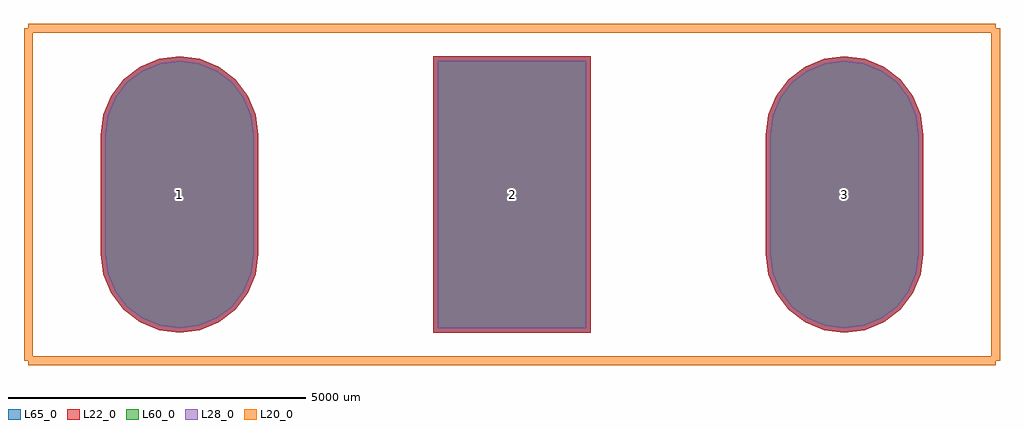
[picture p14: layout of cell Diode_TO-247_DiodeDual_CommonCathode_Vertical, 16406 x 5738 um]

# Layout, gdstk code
import gdstk
lib = gdstk.Library(unit=1e-6, precision=1e-09)
def R(c, l, rs):  # rectangles x0, y0, x1, y1
    for r in rs: c.add(gdstk.rectangle(r[:2], r[2:], *l))
def P(c, l, *ps):  # polygons
    for p in ps: c.add(gdstk.Polygon(p, *l))
L20_0 = (20, 0)
L22_0 = (22, 0)
L28_0 = (28, 0)
L60_0 = (60, 0)
L65_0 = (65, 0)

diode_to_247_diodedual_c = lib.new_cell('Diode_TO-247_DiodeDual_CommonCathode_Vertical')
R(diode_to_247_diodedual_c, L22_0, [(4260.78,-2325.44,6910.14,2325.44)])
P(diode_to_247_diodedual_c, L22_0, [(11173.46,-2325.44),(11516.312,-2280.303),(11835.8,-2147.967),(12110.15,-1937.45),(12320.667,-1663.1),(12453.003,-1343.612),(12498.14,-1000.76),(12498.14,1000.76),(12453.003,1343.612),(12320.667,1663.1),(12110.15,1937.45),(11835.8,2147.967),(11516.312,2280.303),(11173.46,2325.44),(10830.608,2280.303),(10511.12,2147.967),(10236.77,1937.45),(10026.253,1663.1),(9893.917,1343.612),(9848.78,1000.76),(9848.78,-1000.76),(9893.917,-1343.612),(10026.253,-1663.1),(10236.77,-1937.45),(10511.12,-2147.967),(10830.608,-2280.303)],
  [(-2.54,-2325.44),(340.312,-2280.303),(659.8,-2147.967),(934.15,-1937.45),(1144.667,-1663.1),(1277.003,-1343.612),(1322.14,-1000.76),(1322.14,1000.76),(1277.003,1343.612),(1144.667,1663.1),(934.15,1937.45),(659.8,2147.967),(340.312,2280.303),(-2.54,2325.44),(-345.392,2280.303),(-664.88,2147.967),(-939.23,1937.45),(-1149.747,1663.1),(-1282.083,1343.612),(-1327.22,1000.76),(-1327.22,-1000.76),(-1282.083,-1343.612),(-1149.747,-1663.1),(-939.23,-1937.45),(-664.88,-2147.967),(-345.392,-2280.303)])
R(diode_to_247_diodedual_c, L28_0, [(4335.78,-2250.44,6835.14,2250.44)])
P(diode_to_247_diodedual_c, L28_0, [(11173.46,-2250.44),(11496.901,-2207.858),(11798.3,-2083.015),(12057.117,-1884.417),(12255.715,-1625.6),(12380.558,-1324.201),(12423.14,-1000.76),(12423.14,1000.76),(12380.558,1324.201),(12255.715,1625.6),(12057.117,1884.417),(11798.3,2083.015),(11496.901,2207.858),(11173.46,2250.44),(10850.019,2207.858),(10548.62,2083.015),(10289.803,1884.417),(10091.205,1625.6),(9966.362,1324.201),(9923.78,1000.76),(9923.78,-1000.76),(9966.362,-1324.201),(10091.205,-1625.6),(10289.803,-1884.417),(10548.62,-2083.015),(10850.019,-2207.858)],
  [(-2.54,-2250.44),(320.901,-2207.858),(622.3,-2083.015),(881.117,-1884.417),(1079.715,-1625.6),(1204.558,-1324.201),(1247.14,-1000.76),(1247.14,1000.76),(1204.558,1324.201),(1079.715,1625.6),(881.117,1884.417),(622.3,2083.015),(320.901,2207.858),(-2.54,2250.44),(-325.981,2207.858),(-627.38,2083.015),(-886.197,1884.417),(-1084.795,1625.6),(-1209.638,1324.201),(-1252.22,1000.76),(-1252.22,-1000.76),(-1209.638,-1324.201),(-1084.795,-1625.6),(-886.197,-1884.417),(-627.38,-2083.015),(-325.981,-2207.858)])
R(diode_to_247_diodedual_c, L60_0, [(4335.78,-2250.44,6835.14,2250.44)])
P(diode_to_247_diodedual_c, L60_0, [(11173.46,-2250.44),(11496.901,-2207.858),(11798.3,-2083.015),(12057.117,-1884.417),(12255.715,-1625.6),(12380.558,-1324.201),(12423.14,-1000.76),(12423.14,1000.76),(12380.558,1324.201),(12255.715,1625.6),(12057.117,1884.417),(11798.3,2083.015),(11496.901,2207.858),(11173.46,2250.44),(10850.019,2207.858),(10548.62,2083.015),(10289.803,1884.417),(10091.205,1625.6),(9966.362,1324.201),(9923.78,1000.76),(9923.78,-1000.76),(9966.362,-1324.201),(10091.205,-1625.6),(10289.803,-1884.417),(10548.62,-2083.015),(10850.019,-2207.858)],
  [(-2.54,-2250.44),(320.901,-2207.858),(622.3,-2083.015),(881.117,-1884.417),(1079.715,-1625.6),(1204.558,-1324.201),(1247.14,-1000.76),(1247.14,1000.76),(1204.558,1324.201),(1079.715,1625.6),(881.117,1884.417),(622.3,2083.015),(320.901,2207.858),(-2.54,2250.44),(-325.981,2207.858),(-627.38,2083.015),(-886.197,1884.417),(-1084.795,1625.6),(-1209.638,1324.201),(-1252.22,1000.76),(-1252.22,-1000.76),(-1209.638,-1324.201),(-1084.795,-1625.6),(-886.197,-1884.417),(-627.38,-2083.015),(-325.981,-2207.858)])
R(diode_to_247_diodedual_c, L65_0, [(4260.78,-2325.44,6910.14,2325.44)])
P(diode_to_247_diodedual_c, L65_0, [(11173.46,-2325.44),(11516.312,-2280.303),(11835.8,-2147.967),(12110.15,-1937.45),(12320.667,-1663.1),(12453.003,-1343.612),(12498.14,-1000.76),(12498.14,1000.76),(12453.003,1343.612),(12320.667,1663.1),(12110.15,1937.45),(11835.8,2147.967),(11516.312,2280.303),(11173.46,2325.44),(10830.608,2280.303),(10511.12,2147.967),(10236.77,1937.45),(10026.253,1663.1),(9893.917,1343.612),(9848.78,1000.76),(9848.78,-1000.76),(9893.917,-1343.612),(10026.253,-1663.1),(10236.77,-1937.45),(10511.12,-2147.967),(10830.608,-2280.303)],
  [(-2.54,-2325.44),(340.312,-2280.303),(659.8,-2147.967),(934.15,-1937.45),(1144.667,-1663.1),(1277.003,-1343.612),(1322.14,-1000.76),(1322.14,1000.76),(1277.003,1343.612),(1144.667,1663.1),(934.15,1937.45),(659.8,2147.967),(340.312,2280.303),(-2.54,2325.44),(-345.392,2280.303),(-664.88,2147.967),(-939.23,1937.45),(-1149.747,1663.1),(-1282.083,1343.612),(-1327.22,1000.76),(-1327.22,-1000.76),(-1282.083,-1343.612),(-1149.747,-1663.1),(-939.23,-1937.45),(-664.88,-2147.967),(-345.392,-2280.303)])
diode_to_247_diodedual_c.add(gdstk.FlexPath([(-2542.54,-2794),(13713.46,-2794)], 149.998, ends="flush", simple_path=True, layer=20, datatype=0))  # L20_0
diode_to_247_diodedual_c.add(gdstk.FlexPath([(-2542.54,2794),(-2542.54,-2794)], 149.998, ends="flush", simple_path=True, layer=20, datatype=0))  # L20_0
diode_to_247_diodedual_c.add(gdstk.FlexPath([(13713.46,2794),(-2542.54,2794)], 149.998, ends="flush", simple_path=True, layer=20, datatype=0))  # L20_0
diode_to_247_diodedual_c.add(gdstk.FlexPath([(13713.46,-2794),(13713.46,2794)], 149.998, ends="flush", simple_path=True, layer=20, datatype=0))  # L20_0
diode_to_247_diodedual_c.add(gdstk.Label('3', (11173.46,0), layer=28, texttype=0))
diode_to_247_diodedual_c.add(gdstk.Label('1', (-2.54,0), layer=28, texttype=0))
diode_to_247_diodedual_c.add(gdstk.Label('2', (5585.46,0), layer=28, texttype=0))
diode_to_247_diodedual_c.add(gdstk.Label('type', (5585.46,-4033.52), layer=9, texttype=0))
diode_to_247_diodedual_c.add(gdstk.Label('devicename', (5575.3,3581.4), layer=9, texttype=0))

lib.write_gds('Diode_TO-247_DiodeDual_CommonCathode_Vertical.gds')
